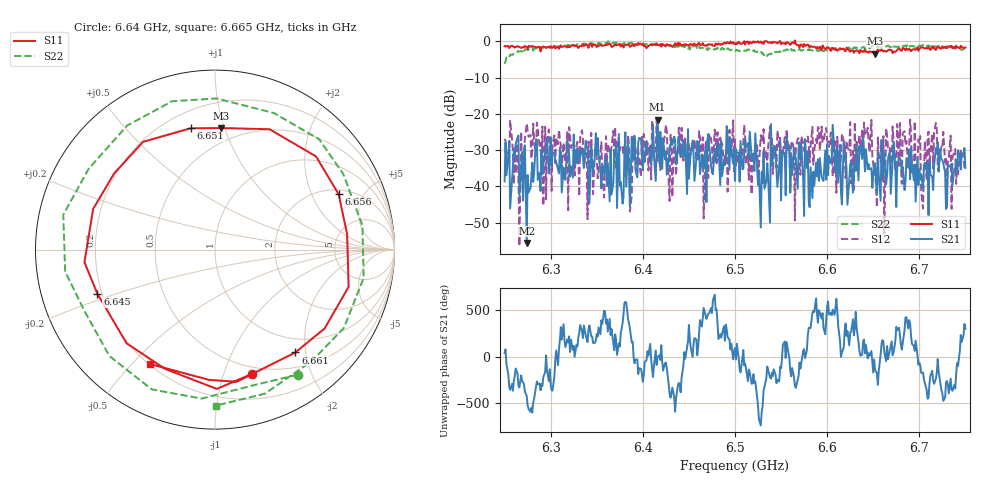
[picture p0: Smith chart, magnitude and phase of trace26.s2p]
# Hz S RI R 50
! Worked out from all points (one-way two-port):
!   401 points, 6.25 GHz to 6.75 GHz, reference 50 ohm
!   highest |S21| = -21.57 dB at 6.416 GHz (marker M1); lowest = -55.6 dB at 6.274 GHz (marker M2)
!   lowest |S11| = -3.4 dB at 6.652 GHz (marker M3), VSWR 5.21, Z = 19.4 + j48.6 ohm
!   |S11| at or under -10 dB: nowhere
!   |S22| runs from -6.2 to 0.1 dB; largest |S21 - S12| = 0.12
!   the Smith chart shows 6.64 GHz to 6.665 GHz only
!   S11 on the Smith chart (normalised r, x): 6.64 GHz: 0.43, -1.25; 6.645 GHz: 0.18, -0.18; 6.651 GHz: 0.30, +0.77; 6.656 GHz: 2.24, +3.21; 6.661 GHz: 0.74, -1.81; 6.665 GHz: 0.21, -0.57
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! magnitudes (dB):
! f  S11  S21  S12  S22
! 6.25 GHz  -1.3  -38.6  -26.9  -6.2
! 6.268 GHz  -1.8  -34.5  -24.9  -2.6
! 6.274 GHz  -1.5  -55.6  -22.6  -2.2
! 6.334 GHz  -1.3  -29.4  -24.5  -0.7
! 6.378 GHz  -0.9  -44.7  -28.6  -0.7
! 6.416 GHz  -1.0  -21.6  -32.9  -0.9
! 6.418 GHz  -1.0  -33.7  -27.1  -1.1
! 6.5 GHz  -0.7  -38.5  -27.1  -2.5
! 6.514 GHz  -0.1  -28.1  -30.9  -2.2
! 6.528 GHz  0.0  -51.3  -25.8  -2.6
! 6.541 GHz  -0.1  -31.8  -36.6  -2.8
! 6.571 GHz  -0.9  -32.2  -36.8  -2.4
! 6.584 GHz  -1.5  -43.2  -23.6  -2.5
! 6.64 GHz  -2.8  -30.4  -22.4  -1.6
! 6.645 GHz  -3.1  -33.8  -27.7  -1.6
! 6.651 GHz  -3.2  -34.3  -36.8  -1.4
! 6.652 GHz  -3.4  -33.6  -35.0  -1.3
! 6.656 GHz  -2.4  -36.8  -31.2  -1.5
! 6.661 GHz  -2.8  -33.4  -26.1  -1.5
! 6.665 GHz  -2.7  -37.0  -25.8  -1.2
! 6.668 GHz  -2.2  -30.3  -28.9  -1.5
! 6.75 GHz  -1.7  -34.9  -35.7  -2.3
